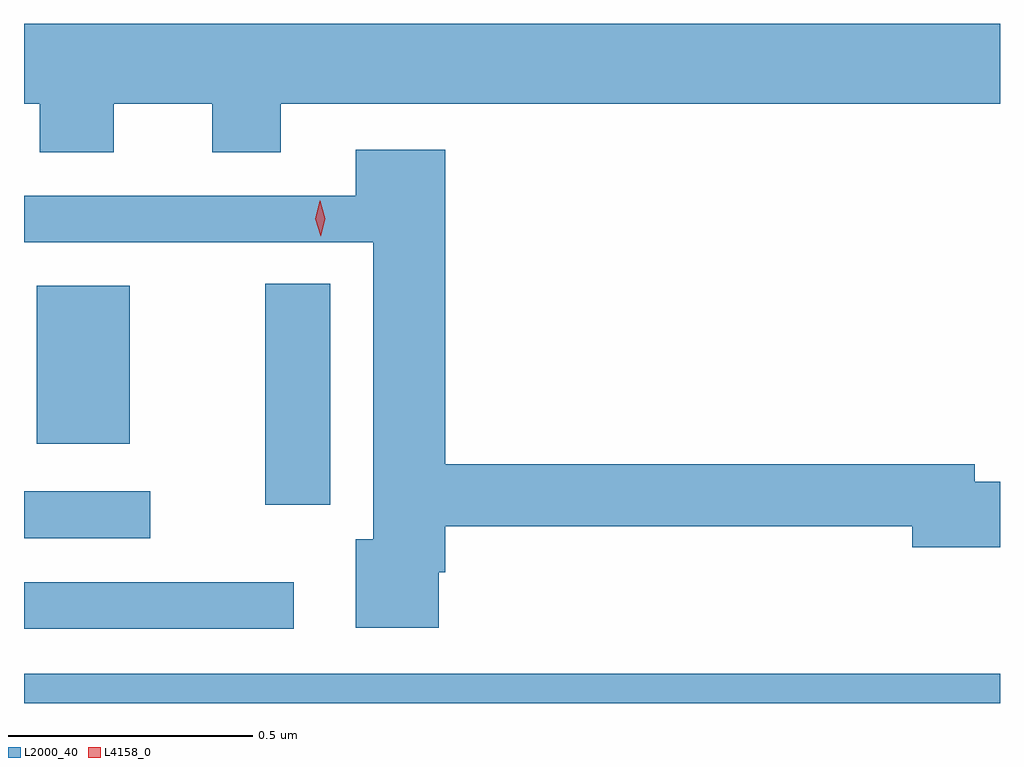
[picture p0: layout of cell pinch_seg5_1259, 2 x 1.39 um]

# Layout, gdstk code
import gdstk
lib = gdstk.Library(unit=1e-6, precision=1e-09)
def R(c, l, rs):  # rectangles x0, y0, x1, y1
    for r in rs: c.add(gdstk.rectangle(r[:2], r[2:], *l))
def P(c, l, *ps):  # polygons
    for p in ps: c.add(gdstk.Polygon(p, *l))
L2000_40 = (2000, 40)
L4158_0 = (4158, 0)

pinch_seg5_1259 = lib.new_cell('pinch_seg5_1259')
R(pinch_seg5_1259, L2000_40, [(455.232,910.144,457.232,910.204), (455.232,910.296,455.785,910.392), (455.232,910.482,455.491,910.578), (455.726,910.551,455.86,911.003), (455.258,910.676,455.449,910.999)])
P(pinch_seg5_1259, L2000_40, [(455.416,911.372),(455.618,911.372),(455.618,911.273),(455.758,911.273),(455.758,911.372),(457.232,911.372),(457.232,911.536),(455.232,911.536),(455.232,911.372),(455.264,911.372),(455.264,911.273),(455.416,911.273)],
  [(456.082,910.412),(456.095,910.412),(456.095,910.506),(457.052,910.506),(457.052,910.463),(457.232,910.463),(457.232,910.598),(457.18,910.598),(457.18,910.634),(456.095,910.634),(456.095,911.278),(455.912,911.278),(455.912,911.184),(455.232,911.184),(455.232,911.088),(455.948,911.088),(455.948,910.48),(455.912,910.48),(455.912,910.298),(456.082,910.298)])
P(pinch_seg5_1259, L4158_0, [(455.84,911.101),(455.84,911.101),(455.829,911.137),(455.838,911.173),(455.838,911.173),(455.839,911.173),(455.849,911.137),(455.84,911.101)])

lib.write_gds('pinch_seg5_1259.gds')
